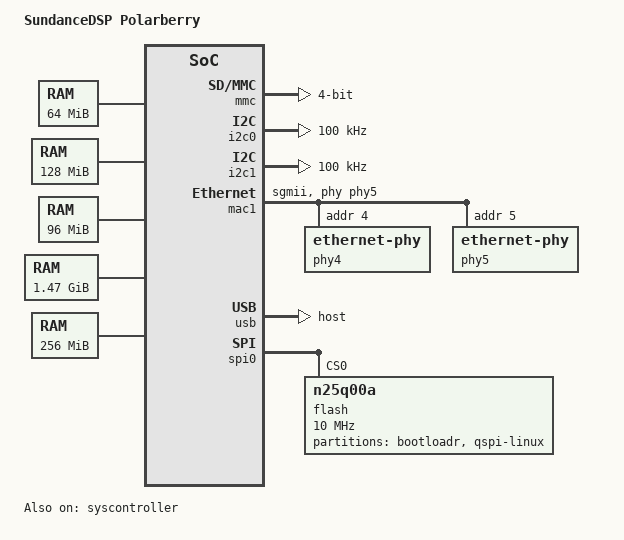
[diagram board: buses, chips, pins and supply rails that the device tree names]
/dts-v1/;

#include "../../../dts/upstream/src/riscv/microchip/mpfs.dtsi"

/* Clock frequency (in Hz) of the rtcclk */
#define RTCCLK_FREQ		1000000

/ {
	model = "SundanceDSP Polarberry";
	compatible = "sundance,polarberry", "microchip,mpfs";

	aliases {
		serial0 = &mmuart0;
		ethernet0 = &mac1;
		spi0 = &spi0;
	};

	chosen {
		stdout-path = "serial0";
	};

	cpus {
		timebase-frequency = <RTCCLK_FREQ>;
	};

	kernel: memory@80000000 {
		device_type = "memory";
		reg = <0x0 0x80000000 0x0 0x4000000>;
		label = "kernel";
	};

	ddr_cached_low: memory@8a000000 {
		device_type = "memory";
		reg = <0x0 0x8a000000 0x0 0x8000000>;
		label = "cached-low";
	};

	ddr_non_cached_low: memory@c4000000 {
		device_type = "memory";
		reg = <0x0 0xc4000000 0x0 0x6000000>;
		label = "non-cached-low";
	};

	ddr_cached_high: memory@1022000000 {
		device_type = "memory";
		reg = <0x10 0x22000000 0x0 0x5e000000>;
		label = "cached-high";
	};

	ddr_non_cached_high: memory@1412000000 {
		device_type = "memory";
		reg = <0x14 0x12000000 0x0 0x10000000>;
		label = "non-cached-high";
	};

	reserved-memory {
		#address-cells = <2>;
		#size-cells = <2>;
		ranges;

		hss: hss-buffer {
			compatible = "shared-dma-pool";
			reg = <0x10 0x3fc00000 0x0 0x400000>;
			no-map;
		};

		dma_non_cached_low: non-cached-low-buffer {
			compatible = "shared-dma-pool";
			size = <0x0 0x4000000>;
			no-map;
			linux,dma-default;
			alloc-ranges = <0x0 0xc4000000 0x0 0x4000000>;
			dma-ranges = <0x0 0xc4000000 0x0 0xc4000000 0x0 0x4000000>;
		};

		dma_non_cached_high: non-cached-high-buffer {
			compatible = "shared-dma-pool";
			size = <0x0 0x10000000>;
			no-map;
			linux,dma-default;
			alloc-ranges = <0x14 0x12000000 0x0 0x10000000>;
			dma-ranges = <0x14 0x12000000 0x14 0x12000000 0x0 0x10000000>;
		};

		fabricbuf0ddrc: buffer@88000000 {
			compatible = "shared-dma-pool";
			reg = <0x0 0x88000000 0x0 0x2000000>;
			no-map;
		};

		fabricbuf1ddrnc: buffer@c8000000 {
			compatible = "shared-dma-pool";
			reg = <0x0 0xc8000000 0x0 0x2000000>;
			no-map;
		};

		fabricbuf2ddrncwcb: buffer@d8000000 {
			compatible = "shared-dma-pool";
			reg = <0x0 0xd8000000 0x0 0x2000000>;
			no-map;
		};
	};

	udmabuf0 {
		compatible = "ikwzm,u-dma-buf";
		device-name = "udmabuf-ddr-c0";
		minor-number = <0>;
		size = <0x0 0x2000000>;
		memory-region = <&fabricbuf0ddrc>;
		sync-mode = <3>;
	};

	udmabuf1 {
		compatible = "ikwzm,u-dma-buf";
		device-name = "udmabuf-ddr-nc0";
		minor-number = <1>;
		size = <0x0 0x2000000>;
		memory-region = <&fabricbuf1ddrnc>;
		sync-mode = <3>;
	};

	udmabuf2 {
		compatible = "ikwzm,u-dma-buf";
		device-name = "udmabuf-ddr-nc-wcb0";
		minor-number = <2>;
		size = <0x0 0x2000000>;
		memory-region = <&fabricbuf2ddrncwcb>;
		sync-mode = <3>;
	};
};

&refclk {
	clock-frequency = <125000000>;
};

&mmuart0 {
	status = "okay";
};

&mmuart1 {
	status = "okay";
};

&mmc {
	status = "okay";

	max-frequency = <200000000>;
	bus-width = <4>;
	cap-mmc-highspeed;
	cap-sd-highspeed;
	no-1-8-v;
	disable-wp;
};

&i2c0 {
	status = "okay";
	clock-frequency = <100000>;
};

&i2c1 {
	status = "okay";
	clock-frequency = <100000>;
};

&mac1 {
	status = "okay";

	phy-mode = "sgmii";
	phy-handle = <&phy5>;

	phy4: ethernet-phy@4 {
		reg = <4>;
		ti,fifo-depth = <0x01>;
	};

	phy5: ethernet-phy@5 {
		reg = <5>;
		ti,fifo-depth = <0x01>;
	};
};

&usb {
	status = "okay";
	dr_mode = "host";
};

&spi0 {
	compatible = "microchip,mpfs-qspi";
	status = "okay";
	num-cs = <1>;

	flash@0 {
		#address-cells = <1>;
		#size-cells = <1>;

		compatible = "n25q00a";
		reg = <0x0>;

		spi-max-frequency = <10000000>;

		spi-tx-bus-width = <1>;
		spi-rx-bus-width = <1>;

		partition@0 {
			label = "bootloadr";
			reg = <0x0 0x2000000>; //32Mb
		};

		partition@2000000 {
			label = "qspi-linux";
			reg = <0x2000000 0x6000000>; //96Mb
		};
	};
};

&mbox {
	status = "okay";
};

&syscontroller {
	status = "okay";
};
